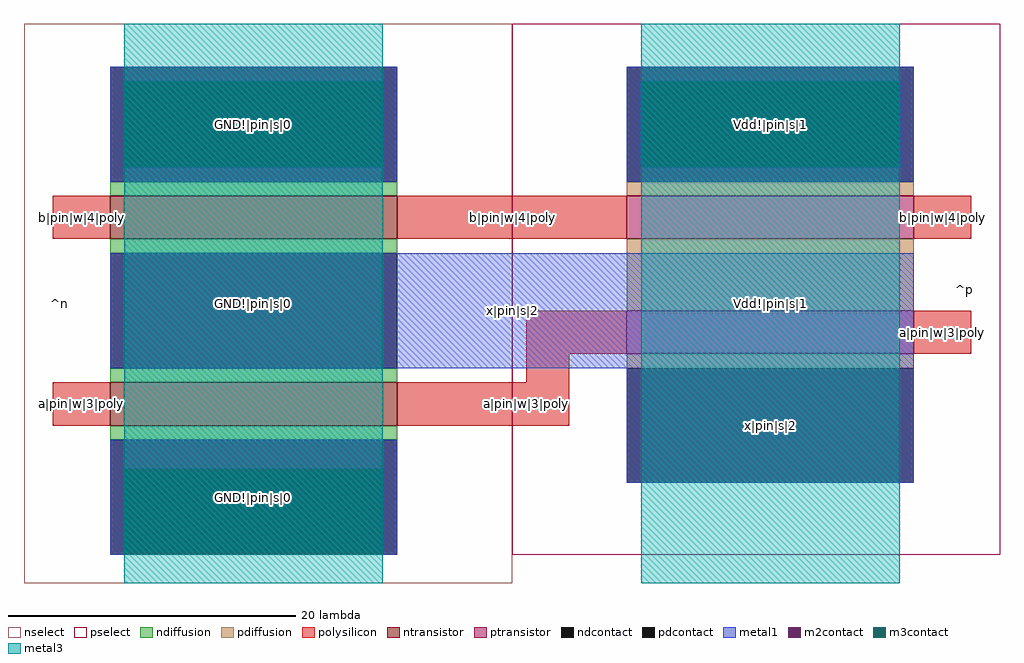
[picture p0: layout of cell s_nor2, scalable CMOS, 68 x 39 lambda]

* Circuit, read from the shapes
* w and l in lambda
.subckt s_nor2 GND!|pin|s|0 Vdd!|pin|s|1 a|pin|w|3|poly b|pin|w|4|poly x|pin|s|2
M1 x|pin|s|2 a|pin|w|3|poly GND!|pin|s|0 VSUBS nfet w=20 l=3
M2 GND!|pin|s|0 b|pin|w|4|poly x|pin|s|2 VSUBS nfet w=20 l=3
M3 n1 a|pin|w|3|poly x|pin|s|2 NWELL pfet w=20 l=3
M4 Vdd!|pin|s|1 b|pin|w|4|poly n1 NWELL pfet w=20 l=3
.ends

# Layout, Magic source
magic
tech scmos
<< nselect >>
rect -34 266 0 305
<< pselect >>
rect 0 268 34 305
<< ndiffusion >>
rect -28 293 -8 294
rect -28 289 -8 290
rect -28 280 -8 281
rect -28 276 -8 277
<< pdiffusion >>
rect 8 293 28 294
rect 8 285 28 290
rect 8 281 28 282
<< ntransistor >>
rect -28 290 -8 293
rect -28 277 -8 280
<< ptransistor >>
rect 8 290 28 293
rect 8 282 28 285
<< polysilicon >>
rect -32 290 -28 293
rect -8 290 8 293
rect 28 290 32 293
rect 1 282 8 285
rect 28 282 32 285
rect 1 280 4 282
rect -32 277 -28 280
rect -8 277 4 280
<< ndcontact >>
rect -28 294 -8 302
rect -28 281 -8 289
rect -28 268 -8 276
<< pdcontact >>
rect 8 294 28 302
rect 8 273 28 281
<< metal1 >>
rect -28 301 -8 302
rect -28 295 -27 301
rect -9 295 -8 301
rect -28 294 -8 295
rect 8 301 28 302
rect 8 295 9 301
rect 27 295 28 301
rect 8 294 28 295
rect -28 281 28 289
rect -28 274 -8 276
rect -28 268 -27 274
rect -9 268 -8 274
rect 8 273 28 281
<< m2contact >>
rect -27 295 -9 301
rect 9 295 27 301
rect -27 268 -9 274
<< m3contact >>
rect -27 295 -9 301
rect 9 295 27 301
rect -27 268 -9 274
<< metal3 >>
rect -27 266 -9 305
rect 9 266 27 305
<< labels >>
rlabel space -35 266 -28 305 7 ^n
rlabel space 28 268 35 305 3 ^p
rlabel metal3 -27 266 -9 305 1 GND!|pin|s|0
rlabel metal1 -28 294 -8 302 1 GND!|pin|s|0
rlabel metal1 -28 268 -8 276 1 GND!|pin|s|0
rlabel metal3 9 266 27 305 1 Vdd!|pin|s|1
rlabel metal1 8 294 28 302 1 Vdd!|pin|s|1
rlabel metal1 -28 281 28 289 1 x|pin|s|2
rlabel metal1 8 273 28 281 1 x|pin|s|2
rlabel polysilicon -32 277 -28 280 1 a|pin|w|3|poly
rlabel polysilicon -1 277 3 280 1 a|pin|w|3|poly
rlabel polysilicon 28 282 32 285 1 a|pin|w|3|poly
rlabel polysilicon 28 290 32 293 1 b|pin|w|4|poly
rlabel polysilicon -2 290 2 293 1 b|pin|w|4|poly
rlabel polysilicon -32 290 -28 293 1 b|pin|w|4|poly
<< end >>
